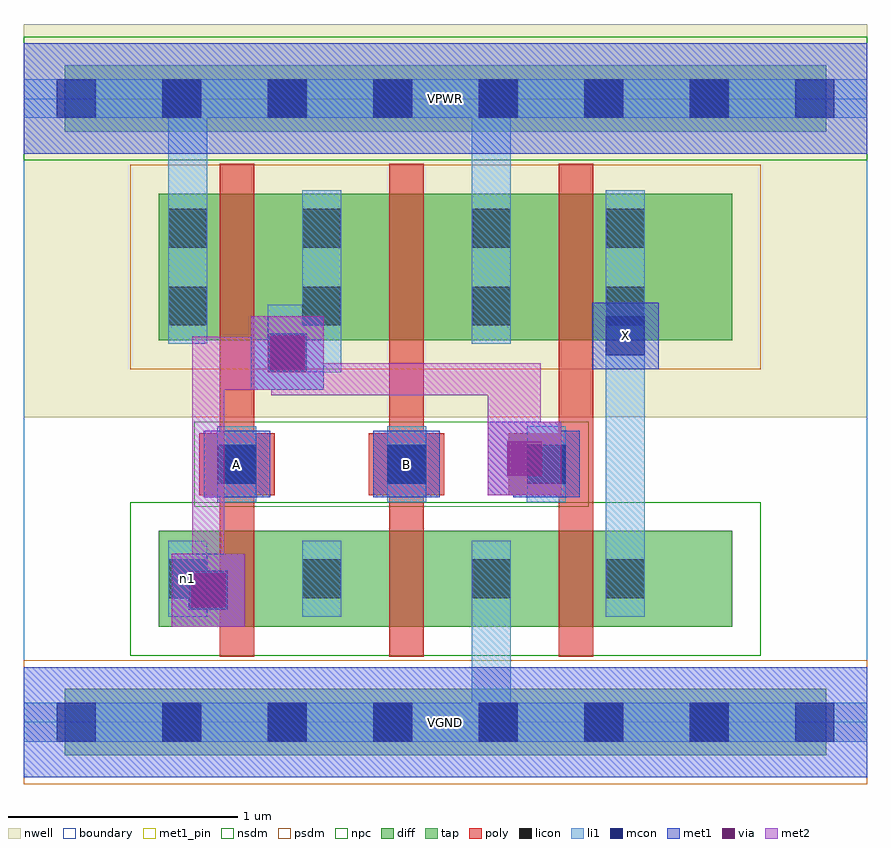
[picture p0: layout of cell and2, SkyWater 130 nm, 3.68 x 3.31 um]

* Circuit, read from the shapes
.subckt and2 A B VGND VPWR X n1
XM1 n2 A n1 VGND sky130_fd_pr__nfet_01v8 w=0.42 l=0.15
XM2 VGND B n2 VGND sky130_fd_pr__nfet_01v8 w=0.42 l=0.15
XM3 X n1 VGND VGND sky130_fd_pr__nfet_01v8 w=0.42 l=0.15
XM4 n1 A VPWR VPWR sky130_fd_pr__pfet_01v8 w=0.64 l=0.15
XM5 VPWR B n1 VPWR sky130_fd_pr__pfet_01v8 w=0.64 l=0.15
XM6 X n1 VPWR VPWR sky130_fd_pr__pfet_01v8 w=0.64 l=0.15
.ends

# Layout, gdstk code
import gdstk
lib = gdstk.Library(unit=1e-6, precision=1e-09)
def R(c, l, rs):  # rectangles x0, y0, x1, y1
    for r in rs: c.add(gdstk.rectangle(r[:2], r[2:], *l))
def A(c, l, x, y, w, h, nx, ny, dx, dy):  # array of equal rectangles
    R(c, l, [(x+i*dx, y+j*dy, x+i*dx+w, y+j*dy+h) for i in range(nx) for j in range(ny)])
nwell = (64, 20)
diff = (65, 20)
tap = (65, 44)
poly = (66, 20)
licon = (66, 44)
li1 = (67, 20)
mcon = (67, 44)
met1_pin = (68, 16)
met1 = (68, 20)
via = (68, 44)
met2 = (69, 20)
nsdm = (93, 44)
psdm = (94, 20)
npc = (95, 20)
boundary = (235, 4)

and2 = lib.new_cell('and2')
R(and2, nwell, [(0,1.33,3.68,3.045)])
R(and2, diff, [(0.59,0.415,3.09,0.835), (0.59,1.665,3.09,2.305)])
R(and2, tap, [(0.18,-0.145,3.5,0.145), (0.18,2.575,3.5,2.865)])
A(and2, poly, 0.855, 0.285, 0.15, 2.15, 3, 1, 0.74, 0)
R(and2, poly, [(0.765,0.99,1.095,1.26), (1.505,0.99,1.835,1.26), (2.115,0.99,2.445,1.26)])
A(and2, licon, 0.605, -0.085, 0.17, 0.17, 6, 2, 0.46, 2.72)
R(and2, licon, [(0.63,0.54,0.8,0.71), (1.215,0.54,1.385,0.71), (1.955,0.54,2.125,0.71), (2.54,0.54,2.71,0.71), (0.845,1.04,1.015,1.21), (1.585,1.04,1.755,1.21), (2.195,1.04,2.365,1.21), (0.63,1.73,0.8,1.9), (1.215,1.73,1.385,1.9), (1.955,1.73,2.125,1.9), (2.54,1.73,2.71,1.9), (0.63,2.07,0.8,2.24), (1.215,2.07,1.385,2.24), (1.955,2.07,2.125,2.24), (2.54,2.07,2.71,2.24)])
R(and2, li1, [(0,-0.085,3.68,0.085), (1.955,-0.085,2.125,0.79), (0.63,0.46,0.8,0.79), (1.215,0.46,1.385,0.79), (1.955,0.46,2.125,0.79), (2.54,0.46,2.71,0.79), (2.54,0.46,2.71,2.32), (0.63,0.49,0.89,0.66), (0.845,0.96,1.015,1.29), (1.585,0.96,1.755,1.29), (2.195,0.96,2.365,1.29), (1.065,1.525,1.385,1.82), (0.63,1.65,0.8,2.32), (0.63,1.65,0.8,2.805), (1.215,1.65,1.385,2.32), (1.955,1.65,2.125,2.32), (1.955,1.65,2.125,2.805), (2.54,1.65,2.71,2.32), (0,2.635,3.68,2.805)])
A(and2, mcon, 0.145, -0.085, 0.17, 0.17, 8, 2, 0.46, 2.72)
R(and2, mcon, [(0.72,0.49,0.89,0.66), (0.845,1.04,1.015,1.21), (1.585,1.04,1.755,1.21), (2.195,1.04,2.365,1.21), (1.065,1.525,1.235,1.695), (2.54,1.6,2.71,1.77)])
R(and2, met1_pin, [(0,-0.24,3.68,0.24), (0.785,0.98,1.075,1.27), (1.525,0.98,1.815,1.27), (2.48,1.54,2.77,1.83), (0,2.48,3.68,2.96)])
R(and2, met1, [(0,-0.24,3.68,0.24), (0.645,0.415,0.965,0.735), (0.66,0.43,0.95,0.72), (0.785,0.98,1.075,1.27), (1.525,0.98,1.815,1.27), (2.135,0.98,2.425,1.27), (2.025,0.99,2.345,1.31), (0.99,1.45,1.31,1.77), (1.005,1.465,1.295,1.755), (2.48,1.54,2.77,1.83), (0,2.48,3.68,2.96)])
R(and2, via, [(0.73,0.5,0.88,0.65), (2.11,1.075,2.26,1.225), (1.075,1.535,1.225,1.685)])
R(and2, met2, [(0.645,0.415,0.965,0.735), (0.735,0.505,0.875,1.68), (2.025,0.99,2.345,1.31), (2.115,1.08,2.255,1.565), (2.025,1.31,2.255,1.425), (1.08,1.425,1.22,1.68), (1.08,1.425,2.255,1.565), (0.875,1.45,0.99,1.68), (0.99,1.45,1.31,1.77), (0.735,1.54,1.22,1.68)])
R(and2, nsdm, [(0.465,0.29,3.215,0.96), (0,2.45,3.68,2.99)])
R(and2, psdm, [(0,-0.27,3.68,0.27), (0.465,1.54,3.215,2.43)])
R(and2, npc, [(0.745,0.94,2.465,1.31)])
R(and2, boundary, [(0,0,3.68,2.72)])
and2.add(gdstk.Label('n1', (0.715,0.625), layer=67, texttype=5))
and2.add(gdstk.Label('X', (2.625,1.685), layer=68, texttype=5))
and2.add(gdstk.Label('A', (0.93,1.125), layer=68, texttype=5))
and2.add(gdstk.Label('B', (1.67,1.125), layer=68, texttype=5))
and2.add(gdstk.Label('VPWR', (1.84,2.72), layer=68, texttype=5))
and2.add(gdstk.Label('VGND', (1.84,0), layer=68, texttype=5))
and2.add(gdstk.Label('X', (2.625,1.685), layer=68, texttype=16))
and2.add(gdstk.Label('A', (0.93,1.125), layer=68, texttype=16))
and2.add(gdstk.Label('B', (1.67,1.125), layer=68, texttype=16))
and2.add(gdstk.Label('VPWR', (1.84,2.72), layer=68, texttype=16))
and2.add(gdstk.Label('VGND', (1.84,0), layer=68, texttype=16))

lib.write_gds('and2.gds')
